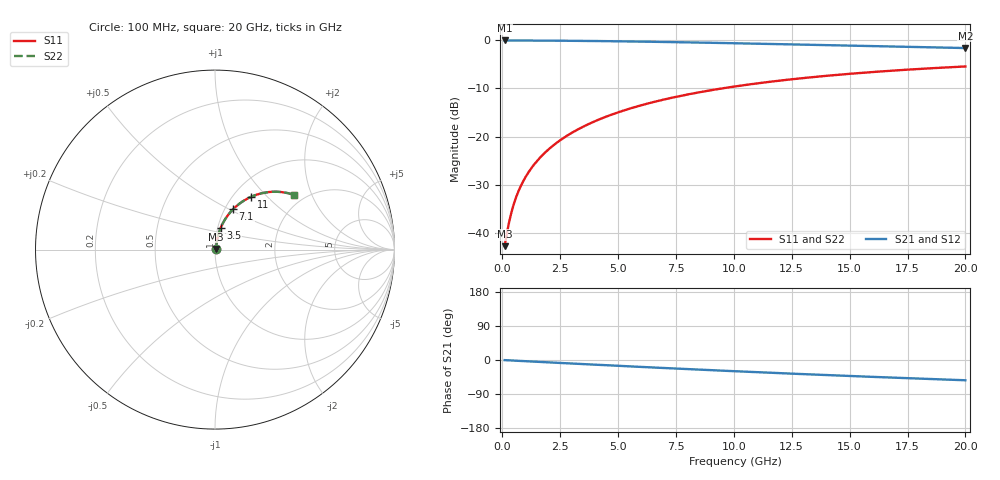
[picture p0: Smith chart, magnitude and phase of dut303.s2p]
! Touchstone file exported from HFSS 2026.1.0
!  File:  C:/ffzhzh/LocalFiles/Ansys_Project_Files/temp_train_BSMRDL_303_1783010521_55676.aedt
!  Generated:  12:43:30 AM Jul  3, 2026
!  Design:  BSMRDL
!  Project:  temp_train_BSMRDL_303_1783010521_55676
! Variables:
!  h_bsmrdl = 3.61um
!  h_ox = 20um
!  h_rdl = 5um
!  h_sub = 80um
!  h_tmrdl = 5um
!  h_tsv = 80um
!  h_via = 3um
!  l_bsmrdl = 782.92um
!  l_sub = 1182.92um
!  l_tmrdl = 200um
!  m_sub = 200um
!  pitch = 40.84um
!  r_tsv = 6um
!  s_tmrdl = 10um
!  w_bsmrdl = 12.34um
!  w_sub = 500um
!  w_tmrdl = 12um
!  x_tsv_center1 = 206um
!  x_tsv_center2 = 1001.26um
!  x_tsv_center3 = 1213.26um
!  x_tsv_center4 = 2008.52um
!  x_tsv_center5 = 2220.52um
!  x_tsv_center6 = 3015.78um
# GHz S MA R 50.000000
! Terminal data exported
! Port[1] = BSM_RDL1_1_T1
! Port[2] = BSM_RDL1_1_T2
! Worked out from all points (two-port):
!   200 points, 100 MHz to 20 GHz, reference 50 ohm
!   highest |S21| = -0.05 dB at 100 MHz (marker M1); lowest = -1.6 dB at 20 GHz (marker M2)
!   |S21| within 3 dB of the highest: start of sweep to end of sweep
!   lowest |S11| = -42.7 dB at 100 MHz (marker M3), VSWR 1.01, Z = 50.6 + j0.389 ohm
!   |S11| at or under -10 dB: start of sweep to 9.484 GHz
!   |S22| runs from -42.7 to -5.4 dB; largest |S21 - S12| = 3.4e-15
!   S11 on the Smith chart (normalised r, x): 100 MHz: 1.01, +0.01; 3.5 GHz: 1.03, +0.26; 7.1 GHz: 1.09, +0.52; 11 GHz: 1.21, +0.81; 20 GHz: 1.75, +1.49
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0.1  0.007333 31.6  0.9938 -0.3  0.9938 -0.3  0.007333 31.6
! Gamma 0 0 0 0
! Port Impedance 50 0 50 0
0.3  0.0132 59.9  0.9935 -1.0  0.9935 -1.0  0.0132 59.9
0.4  0.01664 65.5  0.9933 -1.3  0.9933 -1.3  0.01664 65.5
0.5  0.02016 69.0  0.9931 -1.6  0.9931 -1.6  0.02016 69.0
0.6  0.02371 71.4  0.9929 -1.9  0.9929 -1.9  0.02371 71.4
0.8  0.03084 74.3  0.9925 -2.5  0.9925 -2.5  0.03084 74.3
1.1  0.04159 76.5  0.9919 -3.5  0.9919 -3.5  0.04159 76.5
1.3  0.04878 77.2  0.9915 -4.1  0.9915 -4.1  0.04878 77.2
1.6  0.05957 77.7  0.9908 -5.0  0.9908 -5.0  0.05957 77.7
2.1  0.07754 77.7  0.9893 -6.5  0.9893 -6.5  0.07754 77.7
2.7  0.09898 76.9  0.987 -8.4  0.987 -8.4  0.09898 76.9
3.5  0.1272 75.3  0.9833 -10.8  0.9833 -10.8  0.1272 75.3
4.2  0.1515 73.6  0.9793 -13.0  0.9793 -13.0  0.1515 73.6
5  0.1786 71.5  0.9742 -15.3  0.9742 -15.3  0.1786 71.5
6.8  0.237 66.7  0.9603 -20.6  0.9603 -20.6  0.237 66.7
7.1  0.2464 65.9  0.9577 -21.5  0.9577 -21.5  0.2464 65.9
8.5  0.2883 62.1  0.945 -25.4  0.945 -25.4  0.2883 62.1
10.1  0.333 57.9  0.9293 -29.8  0.9293 -29.8  0.333 57.9
11  0.3566 55.6  0.9202 -32.2  0.9202 -32.2  0.3566 55.6
13.4  0.4141 49.6  0.8951 -38.3  0.8951 -38.3  0.4141 49.6
16.7  0.4809 42.0  0.8609 -46.2  0.8609 -46.2  0.4809 42.0
20  0.5344 34.9  0.8291 -53.5  0.8291 -53.5  0.5344 34.9
